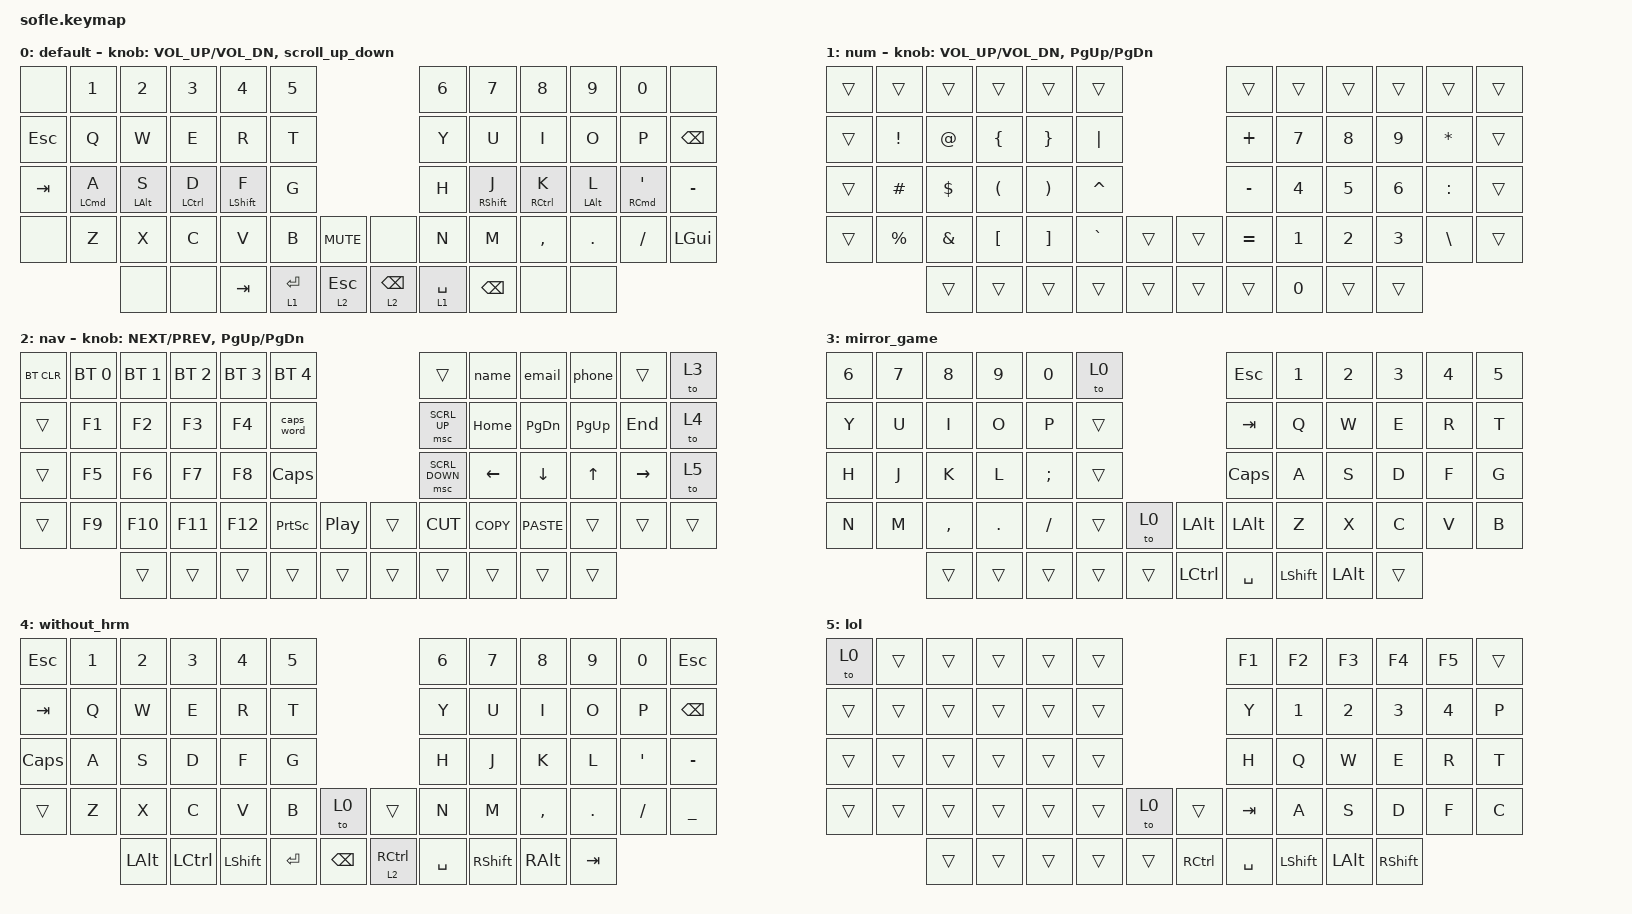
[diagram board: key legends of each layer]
/*
 * Copyright (c) 2020 The ZMK Contributors
 *
 * SPDX-License-Identifier: MIT
 */
// Mouse emulation

#include <behaviors/mouse_keys.dtsi>
#include <behaviors.dtsi>
#include <dt-bindings/zmk/bt.h>
#include <dt-bindings/zmk/keys.h>
#include <dt-bindings/zmk/pointing.h>

#define ZMK_POINTING_DEFAULT_MOVE_VAL 800  // default: 600
#define ZMK_POINTING_DEFAULT_SCRL_VAL 20   // default: 10
#define ZMK_MOUSE_SCRL_VAL 60
#define BASE 0
#define LOWER 1
#define RAISE 2
#define ADJUST 3
#define GAME 4

/ {
    macros {
        tmux_n_s: tmux_next_session {
            compatible = "zmk,behavior-macro";
            #binding-cells = <0>;
            wait-ms = <30>;
            tap-ms = <40>;
            bindings =
                <&macro_press>,
                <&kp LCTRL>,
                <&macro_tap>,
                <&kp SPACE>,
                <&macro_release>,
                <&kp LCTRL>,
                <&macro_tap>,
                <&kp RPAR>;
        };

        tmux_p_s: tmux_prev_session {
            compatible = "zmk,behavior-macro";
            #binding-cells = <0>;
            wait-ms = <30>;
            tap-ms = <40>;
            bindings =
                <&macro_press>,
                <&kp LCTRL>,
                <&macro_tap>,
                <&kp SPACE>,
                <&macro_release>,
                <&kp LCTRL>,
                <&macro_tap>,
                <&kp LPAR>;
        };

        email: email {
            compatible = "zmk,behavior-macro";
            #binding-cells = <0>;
            bindings = <&kp I &kp A &kp G &kp O &kp T &kp I &kp T &kp O &kp AT &kp G &kp M &kp A &kp I &kp L &kp DOT &kp C &kp O &kp M>;
            label = "EMAIL";
        };

        phone: phone {
            compatible = "zmk,behavior-macro";
            #binding-cells = <0>;
            bindings = <&kp N8 &kp N3 &kp N9 &kp N9 &kp N8 &kp N8 &kp N0 &kp N0 &kp N2 &kp N2 &kp N2>;
            label = "PHONE";
        };

        name: name {
            compatible = "zmk,behavior-macro";
            #binding-cells = <0>;
            bindings = <&kp LS(I) &kp A &kp G &kp O &kp SPACE &kp LS(T) &kp I &kp T &kp O &kp SPACE &kp LS(O) &kp L &kp I &kp V &kp E &kp I &kp R &kp A>;
            label = "NAME";
        };
    };

    // Activate ADJUST layer by pressing raise and lower

    conditional_layers { compatible = "zmk,conditional-layers"; };

    behaviors {
        lhrm: left_home_row_mod {
            compatible = "zmk,behavior-hold-tap";
            label = "LEFT_HOME_ROW_MOD";
            bindings = <&kp>, <&kp>;

            #binding-cells = <2>;
            tapping-term-ms = <280>;
            quick-tap-ms = <200>;
            flavor = "balanced";
            hold-trigger-key-positions = <31 32 33 18 19 20 21 22 30 31 32 33 34 44 45 46 47 48 55 56 57 11 35 23 24 52>;
            require-prior-idle-ms = <50>;
            hold-trigger-on-release;
        };

        rhrm: right_home_row_mod {
            compatible = "zmk,behavior-hold-tap";
            label = "RIGHT_HOME_ROW_MOD";
            bindings = <&kp>, <&kp>;

            #binding-cells = <2>;
            tapping-term-ms = <280>;
            quick-tap-ms = <200>;
            flavor = "balanced";
            hold-trigger-key-positions = <28 27 26 13 14 15 16 17 25 26 27 28 29 37 38 39 40 41 52 53 54 0>;
            require-prior-idle-ms = <50>;
            hold-trigger-on-release;
        };

        lhrs: left_homerow_shift {
            compatible = "zmk,behavior-hold-tap";
            label = "LEFT_HOMEROW_SHIFT";
            bindings = <&kp>, <&kp>;

            #binding-cells = <2>;
            tapping-term-ms = <150>;
            quick-tap-ms = <200>;
            flavor = "balanced";
            hold-trigger-key-positions = <31 32 33 18 19 20 21 22 30 31 32 33 34 44 45 46 47 48 55 56 57 11 35>;
            require-prior-idle-ms = <50>;
        };

        rhrs: right_homerow_shift {
            compatible = "zmk,behavior-hold-tap";
            label = "RIGHT_HOMEROW_SHIFT";
            bindings = <&kp>, <&kp>;

            #binding-cells = <2>;
            tapping-term-ms = <150>;
            quick-tap-ms = <200>;
            flavor = "balanced";
            require-prior-idle-ms = <50>;
            hold-trigger-key-positions = <13 14 15 16 17 25 26 27 28 29 37 38 39 40 41 52 53 54 0>;
        };

        lkm: layer-key-mod {
            compatible = "zmk,behavior-hold-tap";
            label = "LAYER-KEY-MOD";
            #binding-cells = <2>;
            tapping-term-ms = <150>;
            quick-tap-ms = <200>;
            flavor = "balanced";
            require-prior-idle-ms = <35>;
            hold-trigger-key-positions = <13 14 15 16 17 25 26 27 28 29 37 38 39 40 41 18 19 20 21 22 30 31 32 33 34 44 45 46 47 48 57>;
            bindings = <&mo>, <&kp>;
        };

        tilde_caret_morph: tilde_caret_morph {
            compatible = "zmk,behavior-mod-morph";
            label = "TILDE_CARET_MORPH";
            bindings = <&kp TILDE>, <&kp CARET>;

            #binding-cells = <0>;
            mods = <(MOD_LSFT|MOD_RSFT)>;
        };

        scroll_up_down: scroll_up_down {
            compatible = "zmk,behavior-sensor-rotate";
            label = "SCROLL_UP_DOWN";
            #sensor-binding-cells = <0>;
            bindings = <&msc SCRL_UP>, <&msc SCRL_DOWN>;

            tap-ms = <80>;
        };
    };

    combos {
        compatible = "zmk,combos";

        combo_tilde_caret {
            bindings = <&tilde_caret_morph>;
            key-positions = <34 33>;
            require-prior-idle-ms = <50>;
            layers = <0>;
        };

        combo_semicolon {
            bindings = <&kp SEMICOLON>;
            key-positions = <47 46>;
            require-prior-idle-ms = <50>;
        };

        combo_gui {
            bindings = <&kp LGUI>;
            key-positions = <37 38>;
            require-prior-idle-ms = <50>;
        };

        combo_caps_word {
            bindings = <&caps_word>;
            key-positions = <31 28>;
        };

        combo_under {
            bindings = <&kp UNDERSCORE>;
            key-positions = <40 45>;
        };

        combo_dash {
            bindings = <&kp MINUS>;
            key-positions = <16 19>;
        };

        combo_tab {
            bindings = <&kp TAB>;
            key-positions = <38 39>;
        };
    };

    keymap {
        compatible = "zmk,keymap";

        default_layer {
            display-name = "default";

            // ------------------------------------------------------------------------------------------------------------
            // |   `   |  1  |  2  |  3   |  4   |  5   |                   |  6   |  7    |  8    |  9   |   0   |   -_  |
            // |  ESC  |  Q  |  W  |  E   |  R   |  T   |                   |  Y   |  U    |  I    |  O   |   P   | BKSPC |
            // |  TAB  |  A  |  S  |  D   |  F   |  G   |                   |  H   |  J    |  K    |  L   |   ;   |   '   |
            // |  CTRL |  Z  |  X  |  C   |  V   |  B   |  MUTE  |  |       |  N   |  M    |  ,    |  .   |   /   |  GUI  |
            //               | GUI | ALT  | SHIFT| ENTER|  LOWER |  | RAISE | SPACE| SHIFT | CTRL  | ALT  |

            bindings = <
&none    &kp N1        &kp N2        &kp N3         &kp N4              &kp N5                                       &kp N6       &kp N7               &kp N8         &kp N9            &kp N0           &none
&kp ESC  &kp Q         &kp W         &kp E          &kp R               &kp T                                        &kp Y        &kp U                &kp I          &kp O             &kp P            &kp BACKSPACE
&kp TAB  &lhrm LCMD A  &lhrm LALT S  &lhrm LCTRL D  &lhrs LEFT_SHIFT F  &kp G                                        &kp H        &rhrs RIGHT_SHIFT J  &rhrm RCTRL K  &rhrm LEFT_ALT L  &rhrm RCMD APOS  &kp MINUS
&none    &kp Z         &kp X         &kp C          &kp V               &kp B        &kp C_MUTE    &none             &kp N        &kp M                &kp COMMA      &kp DOT           &kp FSLH         &kp LGUI
                       &none         &none          &kp TAB             &lt 1 ENTER  &lt 2 ESC     &lkm 2 BACKSPACE  &lt 1 SPACE  &kp BACKSPACE        &none          &none
            >;

            sensor-bindings =
                <&inc_dec_kp C_VOL_UP C_VOL_DN>,
                <&scroll_up_down>;
        };

        num_layer {
            display-name = "num";

            // TODO: Some binds are waiting for shifted keycode support.
            // ------------------------------------------------------------------------------------------------------------
            // |       |  F1 |  F2 |  F3  |  F4  |  F5  |                   |  F6  |  F7   |  F8   |  F9  |  F10  |  F11  |
            // |   `   |  1  |  2  |  3   |  4   |  5   |                   |  6   |  7    |  8    |  9   |   0   |  F12  |
            // |       |  !  |  @  |  #   |  $   |  %   |                   |  ^   |  &    |  *    |  (   |   )   |   |   |
            // |       |  =  |  -  |  +   |  {   |  }   |        |  |       |  [   |  ]    |  ;    |  :   |   \   |       |
            //               |     |      |      |      |        |  |       |      |       |       |      |

            bindings = <
&trans  &trans       &trans         &trans                &trans                 &trans                       &trans     &trans  &trans  &trans  &trans        &trans
&trans  &kp EXCL     &kp AT         &kp LEFT_BRACE        &kp RIGHT_BRACE        &kp PIPE                     &kp PLUS   &kp N7  &kp N8  &kp N9  &kp ASTERISK  &trans
&trans  &kp HASH     &kp DOLLAR     &kp LEFT_PARENTHESIS  &kp RIGHT_PARENTHESIS  &kp CARET                    &kp MINUS  &kp N4  &kp N5  &kp N6  &kp COLON     &trans
&trans  &kp PERCENT  &kp AMPERSAND  &kp LEFT_BRACKET      &kp RIGHT_BRACKET      &kp GRAVE  &trans    &trans  &kp EQUAL  &kp N1  &kp N2  &kp N3  &kp BSLH      &trans
                     &trans         &trans                &trans                 &trans     &trans    &trans  &trans     &kp N0  &trans  &trans
            >;

            sensor-bindings = <&inc_dec_kp C_VOL_UP C_VOL_DN &inc_dec_kp PG_UP PG_DN>;
        };

        nav_layer {
            display-name = "nav";

            // ------------------------------------------------------------------------------------------------------------
            // | BTCLR | BT1  | BT2  |  BT3  |  BT4  |  BT5 |                |      |      |       |      |       |       |
            // |       | INS  | PSCR | GUI   |       |      |                | PGUP |      |   ^   |      |       |       |
            // |       | ALT  | CTRL | SHIFT |       | CAPS |                | PGDN |   <- |   v   |  ->  |  DEL  | BKSPC |
            // |       | UNDO | CUT  | COPY  | PASTE |      |      |  |      | TPS  | TNS  |       |      |       |       |
            //                |      |       |       |      |      |  |      |      |      |       |      |

            bindings = <
&bt BT_CLR  &bt BT_SEL 0  &bt BT_SEL 1  &bt BT_SEL 2  &bt BT_SEL 3  &bt BT_SEL 4                              &trans          &name       &email         &phone        &trans     &to 3
&trans      &kp F1        &kp F2        &kp F3        &kp F4        &caps_word                                &msc SCRL_UP    &kp HOME    &kp PAGE_DOWN  &kp PG_UP     &kp END    &to 4
&trans      &kp F5        &kp F6        &kp F7        &kp F8        &kp CLCK                                  &msc SCRL_DOWN  &kp LEFT    &kp DOWN       &kp UP_ARROW  &kp RIGHT  &to 5
&trans      &kp F9        &kp F10       &kp F11       &kp F12       &kp PSCRN     &kp C_PLAY_PAUSE    &trans  &kp K_CUT       &kp K_COPY  &kp K_PASTE    &trans        &trans     &trans
                          &trans        &trans        &trans        &trans        &trans              &trans  &trans          &trans      &trans         &trans
            >;

            sensor-bindings =
                <&inc_dec_kp C_NEXT C_PREV>,
                <&inc_dec_kp PG_UP PG_DN>;
        };

        mirror_game {
            bindings = <
&kp N6  &kp N7  &kp N8     &kp N9   &kp N0    &to 0                        &kp ESC    &kp N1     &kp N2    &kp N3  &kp N4  &kp N5
&kp Y   &kp U   &kp I      &kp O    &kp P     &trans                       &kp TAB    &kp Q      &kp W     &kp E   &kp R   &kp T
&kp H   &kp J   &kp K      &kp L    &kp SEMI  &trans                       &kp CAPS   &kp A      &kp S     &kp D   &kp F   &kp G
&kp N   &kp M   &kp COMMA  &kp DOT  &kp FSLH  &trans  &to 0     &kp LALT   &kp LALT   &kp Z      &kp X     &kp C   &kp V   &kp B
                &trans     &trans   &trans    &trans  &trans    &kp LCTRL  &kp SPACE  &kp LSHFT  &kp LALT  &trans
            >;
        };

        without_hrm {
            bindings = <
&kp ESC   &kp N1  &kp N2        &kp N3     &kp N4          &kp N5                                   &kp N6     &kp N7      &kp N8         &kp N9   &kp N0    &kp ESCAPE
&kp TAB   &kp Q   &kp W         &kp E      &kp R           &kp T                                    &kp Y      &kp U       &kp I          &kp O    &kp P     &kp BACKSPACE
&kp CAPS  &kp A   &kp S         &kp D      &kp F           &kp G                                    &kp H      &kp J       &kp K          &kp L    &kp SQT   &kp MINUS
&trans    &kp Z   &kp X         &kp C      &kp V           &kp B      &to 0            &trans       &kp N      &kp M       &kp COMMA      &kp DOT  &kp FSLH  &kp UNDERSCORE
                  &kp LEFT_ALT  &kp LCTRL  &kp LEFT_SHIFT  &kp ENTER  &kp BACKSPACE    &lt 2 RCTRL  &kp SPACE  &kp RSHIFT  &kp RIGHT_ALT  &kp TAB
            >;
        };

        lol {
            bindings = <
&to 0   &trans  &trans  &trans  &trans  &trans                       &kp F1     &kp F2     &kp F3    &kp F4     &kp F5  &trans
&trans  &trans  &trans  &trans  &trans  &trans                       &kp Y      &kp N1     &kp N2    &kp N3     &kp N4  &kp P
&trans  &trans  &trans  &trans  &trans  &trans                       &kp H      &kp Q      &kp W     &kp E      &kp R   &kp T
&trans  &trans  &trans  &trans  &trans  &trans  &to 0     &trans     &kp TAB    &kp A      &kp S     &kp D      &kp F   &kp C
                &trans  &trans  &trans  &trans  &trans    &kp RCTRL  &kp SPACE  &kp LSHFT  &kp LALT  &kp RSHFT
            >;
        };
    };
};
